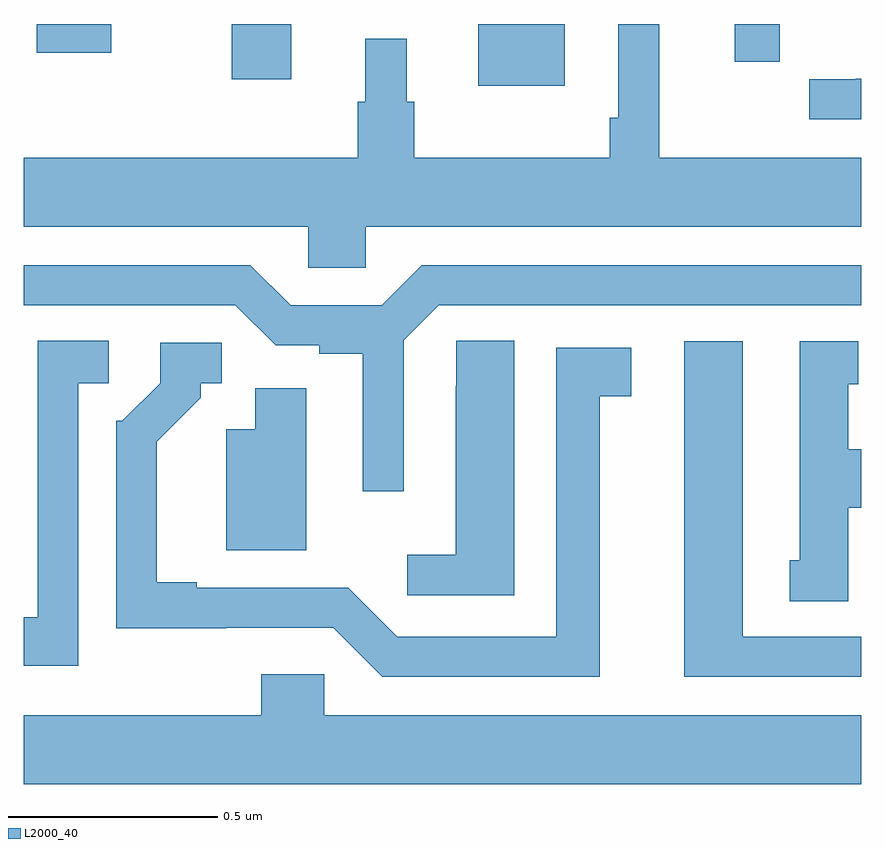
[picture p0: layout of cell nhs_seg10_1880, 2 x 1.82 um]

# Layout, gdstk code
import gdstk
lib = gdstk.Library(unit=1e-6, precision=1e-09)
def R(c, l, rs):  # rectangles x0, y0, x1, y1
    for r in rs: c.add(gdstk.rectangle(r[:2], r[2:], *l))
def P(c, l, *ps):  # polygons
    for p in ps: c.add(gdstk.Polygon(p, *l))
L2000_40 = (2000, 40)

nhs_seg10_1880 = lib.new_cell('nhs_seg10_1880')
R(nhs_seg10_1880, L2000_40, [(135.086,1267.352,135.292,1267.5), (134.497,1267.368,134.638,1267.5), (135.698,1267.41,135.806,1267.5), (134.03,1267.431,134.208,1267.5)])
P(nhs_seg10_1880, L2000_40, [(134.817,1267.016),(136,1267.016),(136,1267.18),(135.518,1267.18),(135.518,1267.5),(135.42,1267.5),(135.42,1267.276),(135.4,1267.276),(135.4,1267.18),(134.933,1267.18),(134.933,1267.314),(134.914,1267.314),(134.914,1267.465),(134.816,1267.465),(134.816,1267.314),(134.797,1267.314),(134.797,1267.18),(134,1267.18),(134,1267.016),(134.679,1267.016),(134.679,1266.918),(134.817,1266.918)],
  [(136,1267.369),(135.988,1267.369),(135.988,1267.368),(135.876,1267.368),(135.876,1267.272),(136,1267.272)],
  [(134.907,1266.744),(134.991,1266.828),(136,1266.828),(136,1266.924),(134.951,1266.924),(134.855,1266.828),(134.637,1266.828),(134.541,1266.924),(134,1266.924),(134,1266.828),(134.505,1266.828),(134.601,1266.732),(134.706,1266.732),(134.706,1266.712),(134.81,1266.712),(134.81,1266.384),(134.907,1266.384)],
  [(135.172,1266.743),(135.033,1266.743),(135.033,1266.635),(135.032,1266.635),(135.032,1266.232),(134.916,1266.232),(134.916,1266.135),(135.172,1266.135)],
  [(134.13,1266.642),(134.203,1266.642),(134.203,1266.743),(134.033,1266.743),(134.033,1266.083),(134,1266.083),(134,1265.967),(134.13,1265.967)],
  [(136,1266.036),(135.718,1266.036),(135.718,1266.742),(135.578,1266.742),(135.578,1265.94),(136,1265.94)],
  [(135.97,1266.344),(136,1266.344),(136,1266.484),(135.97,1266.484),(135.97,1266.639),(135.994,1266.639),(135.994,1266.742),(135.854,1266.742),(135.854,1266.219),(135.83,1266.219),(135.83,1266.121),(135.97,1266.121)],
  [(135.376,1266.61),(135.451,1266.61),(135.451,1266.726),(135.272,1266.726),(135.272,1266.036),(134.892,1266.036),(134.775,1266.153),(134.413,1266.153),(134.413,1266.166),(134.317,1266.166),(134.317,1266.502),(134.422,1266.607),(134.422,1266.642),(134.472,1266.642),(134.472,1266.738),(134.325,1266.738),(134.325,1266.642),(134.235,1266.552),(134.22,1266.552),(134.22,1266.056),(134.483,1266.056),(134.483,1266.057),(134.739,1266.057),(134.856,1265.94),(135.376,1265.94)],
  [(134.674,1266.63),(134.552,1266.63),(134.552,1266.532),(134.483,1266.532),(134.483,1266.242),(134.674,1266.242)],
  [(136,1265.848),(134.718,1265.848),(134.718,1265.946),(134.567,1265.946),(134.567,1265.848),(134,1265.848),(134,1265.684),(136,1265.684)])

lib.write_gds('nhs_seg10_1880.gds')
